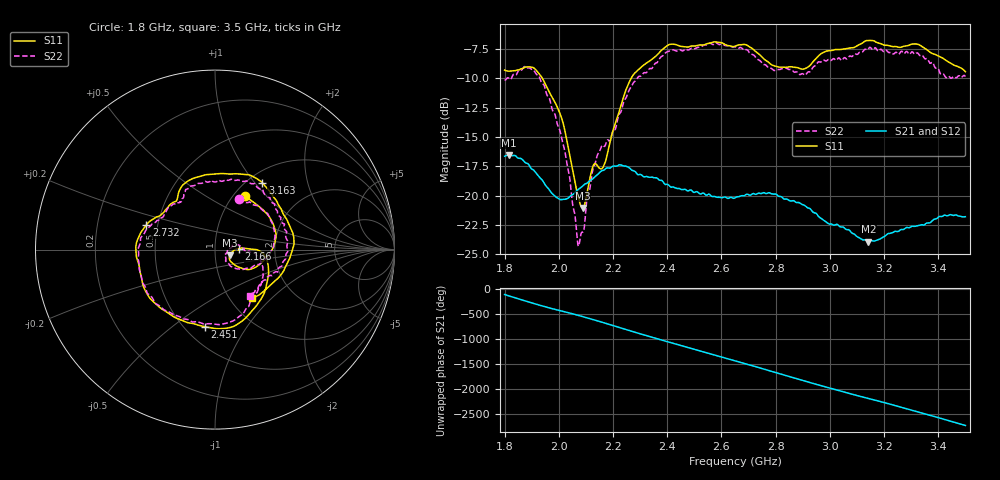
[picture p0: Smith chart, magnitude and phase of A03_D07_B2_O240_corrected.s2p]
! Created with skrf 1.9.0 (http://scikit-rf.org).
# Hz S RI R 50.0
!freq ReS11 ImS11 ReS21 ImS21 ReS12 ImS12 ReS22 ImS22
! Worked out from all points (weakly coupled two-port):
!   1601 points, 1.8 GHz to 3.5 GHz, reference 50 ohm
!   highest |S21| = -16.54 dB at 1.816 GHz (marker M1); lowest = -23.9 dB at 3.142 GHz (marker M2)
!   lowest |S11| = -21.0 dB at 2.088 GHz (marker M3), VSWR 1.19, Z = 58.9 - j3.83 ohm
!   |S11| at or under -10 dB: 1.94 GHz to 2.267 GHz (327.3 MHz wide, 15.6 % of centre)
!   |S22| runs from -24.3 to -7.0 dB; largest |S21 - S12| = 0.003
!   S11 on the Smith chart (normalised r, x): 1.8 GHz: 1.12, +0.76; 2.166 GHz: 1.31, +0.01; 2.451 GHz: 0.62, -0.66; 2.732 GHz: 0.43, +0.14; 3.163 GHz: 1.16, +1.10; 3.5 GHz: 1.26, -0.76
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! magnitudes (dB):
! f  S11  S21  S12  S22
! 1.8 GHz  -9.3  -16.6  -16.7  -10.1
! 1.816 GHz  -9.4  -16.5  -16.5  -10.0
! 1.88 GHz  -9.0  -17.2  -17.2  -9.1
! 1.943 GHz  -10.2  -18.8  -18.8  -10.5
! 2.011 GHz  -13.5  -20.3  -20.3  -15.2
! 2.069 GHz  -19.9  -19.5  -19.6  -23.9
! 2.084 GHz  -21.0  -19.3  -19.2  -23.2
! 2.088 GHz  -21.0  -19.2  -19.2  -23.1
! 2.127 GHz  -17.4  -18.5  -18.5  -17.7
! 2.166 GHz  -17.5  -17.8  -17.8  -15.8
! 2.262 GHz  -10.2  -17.7  -17.7  -10.9
! 2.367 GHz  -7.9  -18.6  -18.6  -8.5
! 2.451 GHz  -7.3  -19.5  -19.5  -7.6
! 2.65 GHz  -7.3  -20.2  -20.2  -7.3
! 2.732 GHz  -7.8  -19.9  -19.9  -8.4
! 2.809 GHz  -9.0  -20.0  -20.0  -9.2
! 2.934 GHz  -8.7  -21.3  -21.3  -9.2
! 3.142 GHz  -6.8  -23.9  -23.8  -7.5
! 3.163 GHz  -6.8  -23.9  -23.9  -7.5
! 3.217 GHz  -7.2  -23.2  -23.2  -7.8
! 3.326 GHz  -7.1  -22.6  -22.5  -7.9
! 3.5 GHz  -9.4  -21.8  -21.8  -9.8
